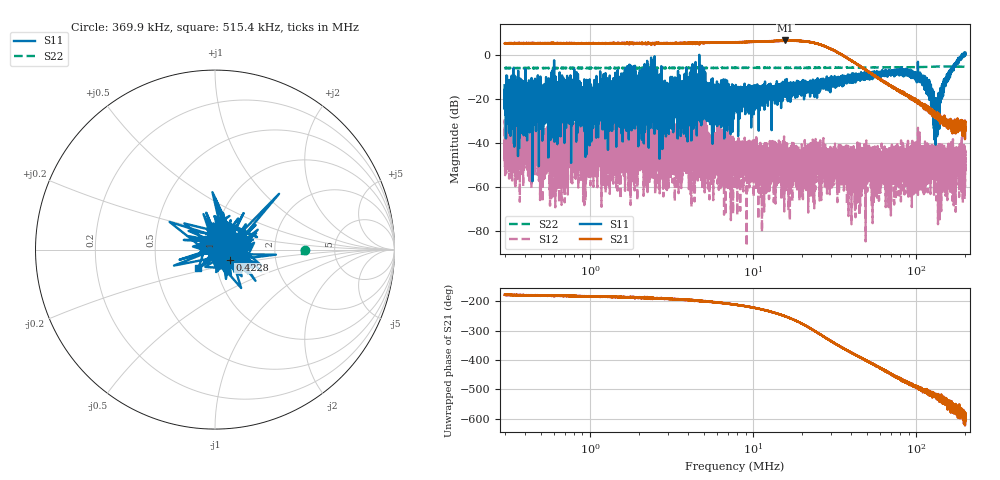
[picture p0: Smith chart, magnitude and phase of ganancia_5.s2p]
# Hz S DB R 50
! CMT, M5065, 19127446, 24.2.4/2
! Date: 11/1/2024 3:07:04 PM
! Data: Format (Calibration Info)
! Freq	S11:dB/Ang(F2)	S21:dB/Ang(F2)	S12:dB/Ang(F2)	S22:dB/Ang(F2)
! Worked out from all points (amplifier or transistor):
!   9000 points, 300 kHz to 200 MHz, reference 50 ohm
!   highest |S21| = 6.5 dB at 15.79 MHz (marker M1)
!   |S21| within 3 dB of that: start of sweep to 28.06 MHz (the widest 1 of 2)
!   unconditionally stable (mu >= 1): start of sweep to 4.678 MHz; 4.681 MHz to 190.6 MHz; 191.8978 MHz to 192.655 MHz (the widest 3 of 17)
!   at 886.8 kHz: K = 40.68, MAG = 6.5 dB, |S12| = -45.9 dB
!   at 7.749 MHz: K = 19.63, MAG = 7.0 dB, |S12| = -40.2 dB
!   at 200 MHz: K = -529.54, MSG = 8.0 dB, |S12| = -46.5 dB
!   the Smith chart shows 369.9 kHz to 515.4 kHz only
!   S11 on the Smith chart (normalised r, x): 369.9 kHz: 1.09, +0.18; 422.8 kHz: 1.17, -0.14; 515.4 kHz: 0.81, -0.17
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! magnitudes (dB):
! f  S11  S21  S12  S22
! 300 kHz  -13.9  5.1  -45.7  -6.0
! 310.1 kHz  -9.5  5.1  -33.1  -6.1
! 369.9 kHz  -20.5  5.2  -51.8  -6.0
! 422.8 kHz  -20.0  5.2  -50.7  -6.1
! 515.4 kHz  -17.1  5.3  -38.5  -6.1
! 886.8 kHz  -23.1  5.2  -45.9  -6.0
! 1.521 MHz  -16.9  5.1  -31.0  -6.1
! 1.789 MHz  -22.8  5.2  -40.4  -6.0
! 1.91 MHz  -25.1  5.1  -28.3  -6.2
! 2.101 MHz  -17.9  5.2  -45.1  -6.0
! 2.621 MHz  -18.0  5.2  -33.5  -6.0
! 4.683 MHz  -18.4  5.4  -46.0  -6.0
! 5.518 MHz  -20.5  5.5  -36.8  -6.0
! 7.749 MHz  -17.5  5.7  -40.2  -6.0
! 15.79 MHz  -11.3  6.5  -48.9  -6.0
! 22.91 MHz  -15.4  5.6  -48.2  -6.0
! 67.71 MHz  -7.3  -13.7  -65.2  -5.7
! 108.1 MHz  -11.3  -22.5  -54.9  -5.6
! 121.4 MHz  -14.3  -24.3  -48.2  -5.5
! 132.2 MHz  -26.5  -27.0  -52.8  -5.4
! 152.8 MHz  -11.2  -29.8  -42.9  -5.3
! 200 MHz  0.8  -30.4  -46.5  -5.4
